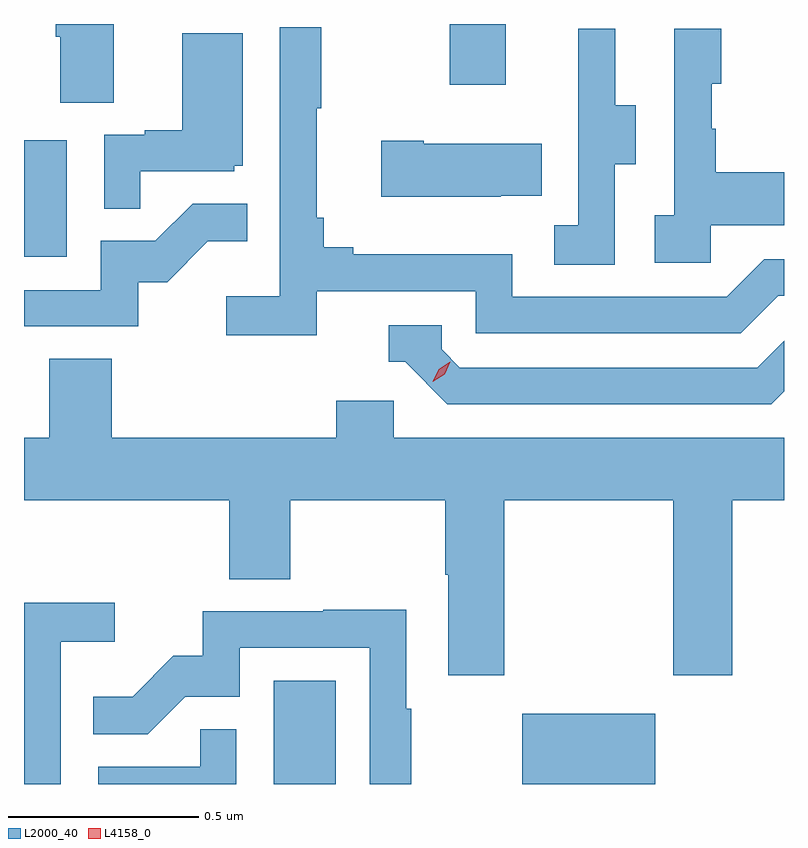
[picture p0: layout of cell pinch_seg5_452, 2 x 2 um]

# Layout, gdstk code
import gdstk
lib = gdstk.Library(unit=1e-6, precision=1e-09)
def R(c, l, rs):  # rectangles x0, y0, x1, y1
    for r in rs: c.add(gdstk.rectangle(r[:2], r[2:], *l))
def P(c, l, *ps):  # polygons
    for p in ps: c.add(gdstk.Polygon(p, *l))
L2000_40 = (2000, 40)
L4158_0 = (4158, 0)

pinch_seg5_452 = lib.new_cell('pinch_seg5_452')
R(pinch_seg5_452, L2000_40, [(894.632,868.001,894.796,868.273), (895.286,868.001,895.636,868.186), (893.975,869.388,894.088,869.695), (895.096,869.841,895.243,870.001)])
P(pinch_seg5_452, L2000_40, [(894.211,870.001),(894.059,870.001),(894.059,869.968),(894.071,869.968),(894.071,869.794),(894.211,869.794)],
  [(894.746,869.298),(895.164,869.298),(895.164,869.187),(895.861,869.187),(895.96,869.286),(895.975,869.286),(895.975,869.382),(895.923,869.382),(895.824,869.283),(895.26,869.283),(895.26,869.395),(894.841,869.395),(894.841,869.414),(894.764,869.414),(894.764,869.491),(894.745,869.491),(894.745,869.779),(894.757,869.779),(894.757,869.992),(894.648,869.992),(894.648,869.284),(894.507,869.284),(894.507,869.182),(894.746,869.182)],
  [(895.53,869.632),(895.585,869.632),(895.585,869.787),(895.531,869.787),(895.531,869.989),(895.433,869.989),(895.433,869.775),(895.434,869.775),(895.434,869.471),(895.371,869.471),(895.371,869.368),(895.53,869.368)],
  [(895.782,869.471),(895.975,869.471),(895.975,869.611),(895.795,869.611),(895.795,869.726),(895.785,869.726),(895.785,869.844),(895.81,869.844),(895.81,869.989),(895.686,869.989),(895.686,869.498),(895.635,869.498),(895.635,869.373),(895.782,869.373)],
  [(894.281,869.613),(894.528,869.613),(894.528,869.628),(894.55,869.628),(894.55,869.977),(894.392,869.977),(894.392,869.722),(894.293,869.722),(894.293,869.709),(894.186,869.709),(894.186,869.515),(894.281,869.515)],
  [(895.229,869.549),(895.337,869.549),(895.337,869.686),(895.027,869.686),(895.027,869.694),(894.915,869.694),(894.915,869.546),(895.229,869.546)],
  [(894.276,869.322),(894.352,869.322),(894.459,869.429),(894.563,869.429),(894.563,869.528),(894.419,869.528),(894.321,869.43),(894.177,869.43),(894.177,869.301),(893.975,869.301),(893.975,869.205),(894.276,869.205)],
  [(895.975,869.034),(895.975,869.167),(895.905,869.097),(895.122,869.097),(895.074,869.145),(895.074,869.208),(894.935,869.208),(894.935,869.112),(894.978,869.112),(895.089,869.001),(895.942,869.001)],
  [(895.239,868.748),(895.684,868.748),(895.684,868.287),(895.839,868.287),(895.839,868.748),(895.975,868.748),(895.975,868.912),(894.948,868.912),(894.948,869.01),(894.797,869.01),(894.797,868.912),(894.206,868.912),(894.206,869.12),(894.041,869.12),(894.041,868.912),(893.975,868.912),(893.975,868.748),(894.515,868.748),(894.515,868.54),(894.675,868.54),(894.675,868.748),(895.084,868.748),(895.084,868.552),(895.091,868.552),(895.091,868.287),(895.239,868.287)],
  [(894.072,868.376),(894.214,868.376),(894.214,868.478),(893.975,868.478),(893.975,868.001),(894.072,868.001)],
  [(894.994,868.199),(894.981,868.199),(894.981,868.46),(894.763,868.46),(894.763,868.455),(894.445,868.455),(894.445,868.338),(894.368,868.338),(894.261,868.231),(894.157,868.231),(894.157,868.132),(894.301,868.132),(894.399,868.23),(894.543,868.23),(894.543,868.359),(894.885,868.359),(894.885,868.001),(894.994,868.001)],
  [(894.534,868.145),(894.439,868.145),(894.439,868.047),(894.17,868.047),(894.17,868.001),(894.534,868.001)])
P(pinch_seg5_452, L4158_0, [(895.051,869.059),(895.051,869.059),(895.066,869.092),(895.097,869.112),(895.097,869.112),(895.097,869.112),(895.082,869.079),(895.051,869.059)])

lib.write_gds('pinch_seg5_452.gds')
